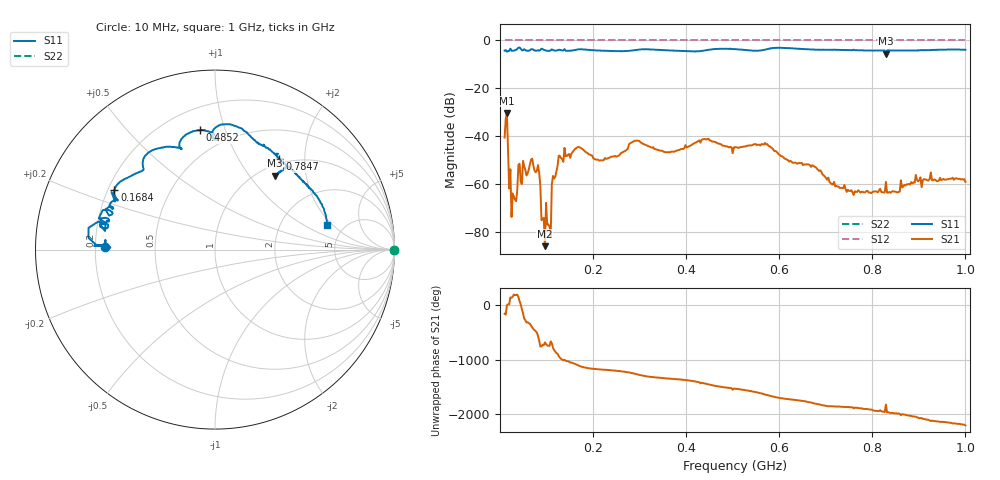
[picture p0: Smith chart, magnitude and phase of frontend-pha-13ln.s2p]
! Anritsu VNA Master:  Model: MS2024B
! SN:  2417009
! /card0/usr/frontend-pha-13ln.s2p
! Existing Calibration Information:
! TYPE:  Current Settings,  Active Cal Settings
! TIME:  09/08/2026 03:57:49 AM,  09/08/2026 03:52:02 AM
! INTERNAL TEMP:  46.8 C,  46.8 C
! # POINTS:  401,  401
! START FREQ:  10.000 MHz,  10.000 MHz
! STOP FREQ:  1.000 GHz,  1.000 GHz
! SOURCE POWER:  Default,  Default
! IFBW:  1 kHz,  1 kHz
! AVG FACTOR:  16 ,  16
! REF PLANE 1:  0 mm,  0 mm
! REF PLANE 2:  0 mm,  0 mm
! CAL TYPE:  1P2P S11,S21,  1P2P S11,S21
! CAL METHOD:  SOLT,  SOLT
! CAL LINE TYPE:  Coax,  Coax
! DUT PORT 1:  N-Conn(M),  N-Conn(M)
! DUT PORT 2:  N-Conn(M),  N-Conn(M)
! CAL STATUS:  OK: Accuracy High,  --
# GHZ S DB R 50.0
! FREQ.GHZ  S11DB  S11A  S21DB  S21A  S12DB  S12A  S22DB  S22A
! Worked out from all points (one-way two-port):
!   401 points, 10 MHz to 1 GHz, reference 50 ohm
!   highest |S21| = -30.29 dB at 14.95 MHz (marker M1); lowest = -86.0 dB at 96.62 MHz (marker M2)
!   lowest |S11| = -5.5 dB at 829.2 MHz (marker M3), VSWR 3.25, Z = 58.5 + j67 ohm
!   |S11| at or under -10 dB: nowhere
!   |S22| runs from 0.0 to 0.0 dB; largest |S21 - S12| = 1
!   S11 on the Smith chart (normalised r, x): 10 MHz: 0.24, +0.01; 168.4 MHz: 0.23, +0.26; 485.2 MHz: 0.34, +0.82; 784.7 MHz: 0.93, +1.51; 1 GHz: 3.68, +1.72
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0.01  -4.23 178.5  -40.58 -155.8  0.00 0.0  0.00 0.0
0.01495  -4.69 178.9  -30.29 1.6  0.00 0.0  0.00 0.0
0.022375  -3.43 178.2  -53.81 144.6  0.00 0.0  0.00 0.0
0.0298  -4.27 177.5  -65.20 -163.0  0.00 0.0  0.00 0.0
0.04465  -3.48 166.5  -59.11 13.9  0.00 0.0  0.00 0.0
0.0694  -3.60 164.7  -49.39 -46.1  0.00 0.0  0.00 0.0
0.081775  -4.09 165.1  -52.04 157.1  0.00 0.0  0.00 0.0
0.096625  -4.10 159.6  -85.95 39.0  0.00 0.0  0.00 0.0
0.106525  -4.35 161.2  -77.75 -26.0  0.00 0.0  0.00 0.0
0.116425  -4.20 157.4  -57.68 -104.0  0.00 0.0  0.00 0.0
0.126325  -3.90 157.2  -48.08 146.5  0.00 0.0  0.00 0.0
0.1684  -3.72 149.2  -44.50 -23.1  0.00 0.0  0.00 0.0
0.175825  -3.70 145.9  -45.20 -49.7  0.00 0.0  0.00 0.0
0.2179  -4.26 136.3  -50.07 -99.8  0.00 0.0  0.00 0.0
0.34165  -3.93 116.0  -45.91 109.9  0.00 0.0  0.00 0.0
0.4852  -3.48 97.3  -44.30 -69.0  0.00 0.0  0.00 0.0
0.505  -3.62 92.9  -44.61 -90.1  0.00 0.0  0.00 0.0
0.670825  -3.75 70.0  -52.14 8.5  0.00 0.0  0.00 0.0
0.784675  -4.18 54.5  -63.40 -102.9  0.00 0.0  0.00 0.0
0.829225  -5.52 51.1  -59.12 -23.6  0.00 0.0  0.00 0.0
0.83665  -4.17 47.8  -63.32 -171.2  0.00 0.0  0.00 0.0
1  -3.89 12.5  -59.08 -45.8  0.00 0.0  0.00 0.0
